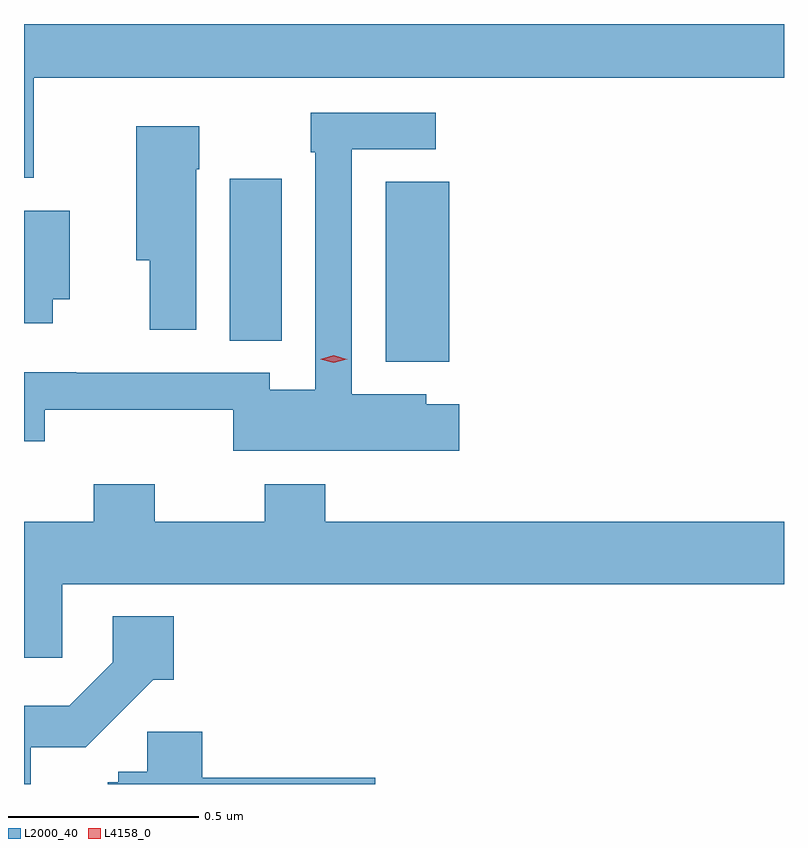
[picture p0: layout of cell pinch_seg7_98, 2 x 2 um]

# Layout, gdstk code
import gdstk
lib = gdstk.Library(unit=1e-6, precision=1e-09)
def R(c, l, rs):  # rectangles x0, y0, x1, y1
    for r in rs: c.add(gdstk.rectangle(r[:2], r[2:], *l))
def P(c, l, *ps):  # polygons
    for p in ps: c.add(gdstk.Polygon(p, *l))
L2000_40 = (2000, 40)
L4158_0 = (4158, 0)

pinch_seg7_98 = lib.new_cell('pinch_seg7_98')
R(pinch_seg7_98, L2000_40, [(893.699,1001.201,893.866,1001.675), (893.288,1001.257,893.425,1001.683)])
P(pinch_seg7_98, L2000_40, [(892.772,1001.948),(894.747,1001.948),(894.747,1002.09),(892.747,1002.09),(892.747,1001.685),(892.772,1001.685)],
  [(893.893,1001.089),(893.805,1001.089),(893.805,1001.116),(893.61,1001.116),(893.61,1001.76),(893.83,1001.76),(893.83,1001.856),(893.502,1001.856),(893.502,1001.753),(893.514,1001.753),(893.514,1001.128),(893.394,1001.128),(893.394,1001.172),(892.885,1001.172),(892.885,1001.173),(892.747,1001.173),(892.747,1000.992),(892.802,1000.992),(892.802,1001.075),(893.298,1001.075),(893.298,1000.967),(893.893,1000.967)],
  [(893.2,1001.708),(893.208,1001.708),(893.208,1001.821),(893.042,1001.821),(893.042,1001.468),(893.078,1001.468),(893.078,1001.286),(893.2,1001.286)],
  [(892.822,1001.366),(892.867,1001.366),(892.867,1001.599),(892.747,1001.599),(892.747,1001.303),(892.822,1001.303)],
  [(892.848,1000.616),(894.747,1000.616),(894.747,1000.78),(893.54,1000.78),(893.54,1000.879),(893.38,1000.879),(893.38,1000.78),(893.091,1000.78),(893.091,1000.879),(892.931,1000.879),(892.931,1000.78),(892.747,1000.78),(892.747,1000.422),(892.848,1000.422)],
  [(892.765,1000.187),(892.909,1000.187),(893.087,1000.364),(893.141,1000.364),(893.141,1000.531),(892.98,1000.531),(892.98,1000.41),(892.866,1000.296),(892.747,1000.296),(892.747,1000.09),(892.765,1000.09)],
  [(893.671,1000.106),(893.216,1000.106),(893.216,1000.227),(893.071,1000.227),(893.071,1000.122),(892.995,1000.122),(892.995,1000.095),(892.967,1000.095),(892.967,1000.09),(893.671,1000.09)])
P(pinch_seg7_98, L4158_0, [(893.562,1001.198),(893.527,1001.208),(893.527,1001.208),(893.527,1001.208),(893.562,1001.218),(893.596,1001.208),(893.597,1001.208),(893.596,1001.208)])

lib.write_gds('pinch_seg7_98.gds')
